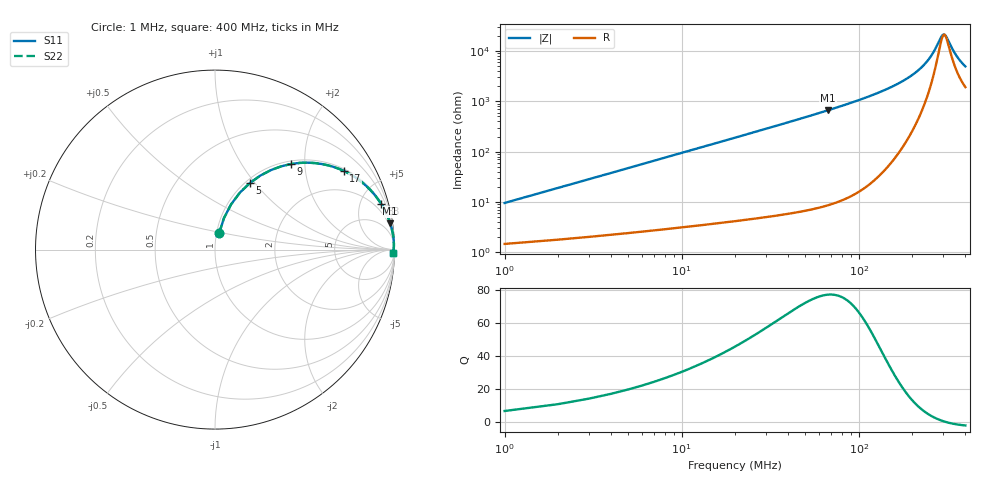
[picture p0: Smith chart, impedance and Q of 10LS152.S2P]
! Coilcraft 1008LS-152 Chip Inductor
! 5 August 2002
# MHZ S MA R 50
!Freq  MagS11  AngS11  MagS21  AngS21  MagS12  AngS12  MagS22  AngS22
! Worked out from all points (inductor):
!   400 points, 1 MHz to 400 MHz, reference 50 ohm
!   read as one part in series: L = 1.5 uH near 3 MHz
!   highest Q = 77.4 at 67 MHz (marker M1), where L = 1.58 uH
!   self-resonance near 304 MHz
!   S11 on the Smith chart (normalised r, x): 1 MHz: 1.03, +0.19; 5 MHz: 1.05, +0.94; 9 MHz: 1.06, +1.70; 17 MHz: 1.08, +3.21; 38 MHz: 1.11, +7.28; 400 MHz: open
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1  0.0936 75.9  0.9814 -5.3  0.9814 -5.3  0.0936 75.9
2  0.1829 74.1  0.9661 -10.5  0.9661 -10.5  0.1829 74.1
3  0.2678 70.4  0.9446 -15.5  0.9446 -15.5  0.2678 70.4
5  0.4187 62.4  0.8871 -24.7  0.8871 -24.7  0.4187 62.4
7  0.5411 54.9  0.819 -32.7  0.819 -32.7  0.5411 54.9
9  0.6365 48.5  0.7492 -39.5  0.7492 -39.5  0.6365 48.5
13  0.7649 38.5  0.6229 -49.9  0.6229 -49.9  0.7649 38.5
17  0.8401 31.5  0.5226 -57.1  0.5226 -57.1  0.8401 31.5
26  0.9208 21.9  0.3729 -67.0  0.3729 -67.0  0.9208 21.9
38  0.9605 15.3  0.2639 -73.8  0.2639 -73.8  0.9605 15.3
67  0.987 8.5  0.1486 -80.7  0.1486 -80.7  0.987 8.5
68  0.9874 8.4  0.1463 -80.9  0.1463 -80.9  0.9874 8.4
134  0.9965 3.6  0.06345 -85.0  0.06345 -85.0  0.9965 3.6
201  0.9973 1.7  0.0296 -83.9  0.0296 -83.9  0.9973 1.7
238  0.9968 1.0  0.01741 -79.0  0.01741 -79.0  0.9968 1.0
267  0.9963 0.5  0.009792 -67.3  0.009792 -67.3  0.9963 0.5
291  0.9957 0.2  0.005334 -35.9  0.005334 -35.9  0.9957 0.2
301  0.9954 0.0  0.004661 -10.2  0.004661 -10.2  0.9954 0.0
311  0.9951 -0.1  0.005066 15.9  0.005066 15.9  0.9951 -0.1
334  0.9944 -0.4  0.008358 47.9  0.008358 47.9  0.9944 -0.4
363  0.9934 -0.7  0.01355 60.7  0.01355 60.7  0.9934 -0.7
400  0.992 -1.1  0.02007 66.1  0.02007 66.1  0.992 -1.1
